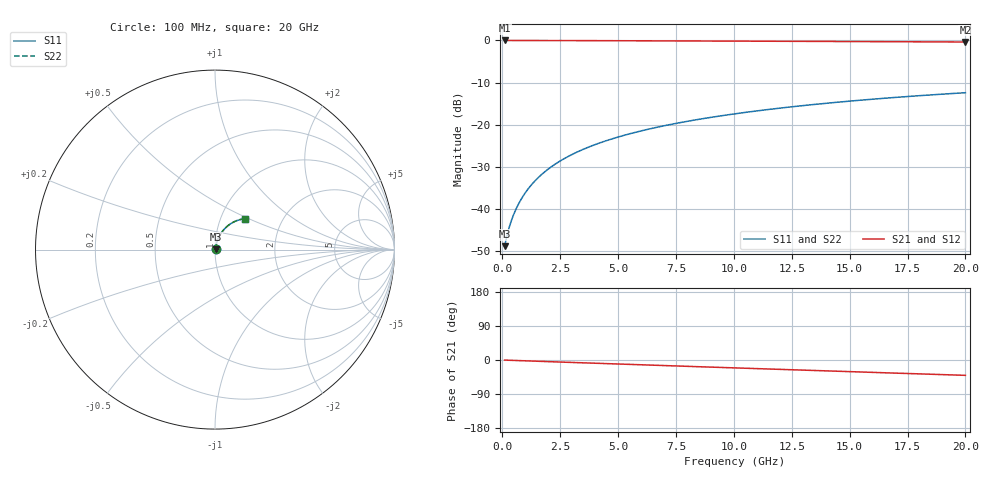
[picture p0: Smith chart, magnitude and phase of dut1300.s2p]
! Touchstone file exported from HFSS 2026.1.0
!  File:  C:/ffzhzh/LocalFiles/Ansys_Project_Files/temp_train_TMRDL_1300_1783164684_55132.aedt
!  Generated:  07:32:35 PM Jul  4, 2026
!  Design:  TMRDL
!  Project:  temp_train_TMRDL_1300_1783164684_55132
! Variables:
!  h_bsmrdl = 2um
!  h_ox = 20um
!  h_rdl = 5um
!  h_sub = 80um
!  h_tmrdl = 4.86um
!  h_tsv = 80um
!  h_via = 3um
!  l_bsmrdl = 300um
!  l_sub = 1081.8um
!  l_tmrdl = 681.8um
!  m_sub = 200um
!  pitch = 28.37um
!  r_tsv = 6um
!  s_tmrdl = 10um
!  w_bsmrdl = 18um
!  w_sub = 500um
!  w_tmrdl = 16.51um
!  x_tsv_center1 = 690.055um
!  x_tsv_center2 = 1008.055um
!  x_tsv_center3 = 1706.365um
!  x_tsv_center4 = 2024.365um
!  x_tsv_center5 = 2722.675um
!  x_tsv_center6 = 3040.675um
# GHz S MA R 50.000000
! Terminal data exported
! Port[1] = TM_RDL1_1_T1
! Port[2] = TM_RDL1_1_T2
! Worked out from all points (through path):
!   200 points, 100 MHz to 20 GHz, reference 50 ohm
!   highest |S21| = -0.03 dB at 100 MHz (marker M1); lowest = -0.4 dB at 20 GHz (marker M2)
!   group delay of S21, straight-line fit = 5.6 ps
!   lowest |S11| = -48.8 dB at 100 MHz (marker M3), VSWR 1.01, Z = 50.3 + j0.177 ohm
!   |S11| at or under -10 dB: start of sweep to end of sweep
!   |S22| runs from -48.8 to -12.4 dB; largest |S21 - S12| = 4.8e-15
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0.1  0.003622 29.1  0.9968 -0.2  0.9968 -0.2  0.003622 29.1
! Gamma 0 0 0 0
! Port Impedance 50 0 50 0
0.2  0.004792 45.0  0.9966 -0.5  0.9966 -0.5  0.004791 45.0
0.3  0.006078 53.5  0.9964 -0.7  0.9964 -0.7  0.006078 53.5
0.4  0.007387 59.1  0.9963 -0.9  0.9963 -0.9  0.007387 59.1
0.5  0.008718 63.0  0.9962 -1.1  0.9962 -1.1  0.008718 63.0
0.6  0.01007 66.0  0.9961 -1.3  0.9961 -1.3  0.01007 66.0
0.8  0.01284 70.0  0.9959 -1.7  0.9959 -1.7  0.01284 70.0
1  0.01566 72.5  0.9957 -2.2  0.9957 -2.2  0.01566 72.5
1.2  0.01851 74.1  0.9956 -2.6  0.9956 -2.6  0.01851 74.1
1.4  0.02138 75.1  0.9954 -3.0  0.9954 -3.0  0.02138 75.1
1.7  0.02569 76.0  0.9951 -3.7  0.9951 -3.7  0.02568 76.0
2.2  0.03284 76.5  0.9945 -4.7  0.9945 -4.7  0.03284 76.5
2.8  0.04133 76.3  0.9936 -6.0  0.9936 -6.0  0.04133 76.3
3.5  0.05108 75.5  0.9925 -7.5  0.9925 -7.5  0.05107 75.5
4.2  0.06063 74.5  0.9912 -8.9  0.9912 -8.9  0.06063 74.5
5  0.07134 73.2  0.9898 -10.6  0.9898 -10.6  0.07133 73.2
6.8  0.09466 70.0  0.9862 -14.3  0.9862 -14.3  0.09465 70.1
8.3  0.1134 67.4  0.9831 -17.4  0.9831 -17.4  0.1134 67.4
10.1  0.1351 64.1  0.9793 -21.0  0.9793 -21.0  0.1351 64.2
13.4  0.1729 58.1  0.9718 -27.6  0.9718 -27.6  0.1729 58.1
16.7  0.2077 52.0  0.9638 -34.1  0.9638 -34.1  0.2077 52.1
20  0.2393 45.9  0.9556 -40.5  0.9556 -40.5  0.2392 46.0
